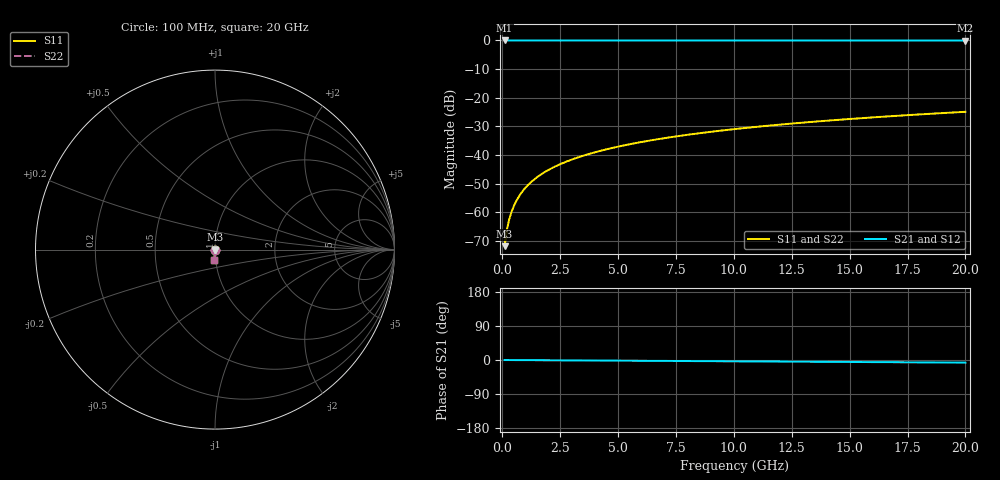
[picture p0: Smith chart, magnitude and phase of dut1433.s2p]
! Touchstone file exported from HFSS 2026.1.0
!  File:  C:/ffzhzh/LocalFiles/Ansys_Project_Files/temp_train_TSV_1433_1783197537_18472.aedt
!  Generated:  04:40:28 AM Jul  5, 2026
!  Design:  TSV
!  Project:  temp_train_TSV_1433_1783197537_18472
! Variables:
!  h_bsmrdl = 2um
!  h_ox = 20um
!  h_rdl = 5um
!  h_sub = 62.52um
!  h_tmrdl = 5um
!  h_tsv = 62.52um
!  h_via = 3um
!  l_bsmrdl = 300um
!  l_sub = 427.52um
!  l_tmrdl = 200um
!  m_sub = 200um
!  pitch = 36.91um
!  r_tsv = 13.76um
!  s_tmrdl = 10um
!  w_bsmrdl = 18um
!  w_sub = 500um
!  w_tmrdl = 12um
!  x_tsv_center1 = 206um
!  x_tsv_center2 = 524um
!  x_tsv_center3 = 736um
!  x_tsv_center4 = 1054um
!  x_tsv_center5 = 1266um
!  x_tsv_center6 = 1584um
# GHz S MA R 50.000000
! Terminal data exported
! Port[1] = TSV1_1_T1
! Port[2] = TSV1_1_T2
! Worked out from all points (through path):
!   200 points, 100 MHz to 20 GHz, reference 50 ohm
!   highest |S21| = 0.00 dB at 100 MHz (marker M1); lowest = 0.0 dB at 20 GHz (marker M2)
!   lowest |S11| = -71.8 dB at 100 MHz (marker M3), VSWR 1.00, Z = 50 - j0.0245 ohm
!   |S11| at or under -10 dB: start of sweep to end of sweep
!   |S22| runs from -71.8 to -24.9 dB; largest |S21 - S12| = 1.6e-14
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0.1  0.000256 -73.1  0.9999 -0.0  0.9999 -0.0  0.000256 -73.1
! Gamma 0 0 0 0
! Port Impedance 50 0 50 0
0.2  0.0005013 -79.9  0.9999 -0.1  0.9999 -0.1  0.0005013 -79.9
0.3  0.0007561 -81.9  0.9999 -0.1  0.9999 -0.1  0.0007561 -81.9
0.4  0.001019 -82.8  0.9999 -0.1  0.9999 -0.1  0.001019 -82.8
0.5  0.001287 -83.4  0.9998 -0.2  0.9998 -0.2  0.001287 -83.4
0.7  0.001838 -84.2  0.9998 -0.3  0.9998 -0.3  0.001838 -84.2
0.8  0.002118 -84.6  0.9998 -0.3  0.9998 -0.3  0.002118 -84.6
1  0.00268 -85.2  0.9998 -0.4  0.9998 -0.4  0.00268 -85.2
1.2  0.003245 -85.8  0.9997 -0.4  0.9997 -0.4  0.003245 -85.8
1.4  0.00381 -86.3  0.9997 -0.5  0.9997 -0.5  0.00381 -86.3
1.7  0.004657 -86.9  0.9997 -0.6  0.9997 -0.6  0.004657 -86.9
2  0.005504 -87.4  0.9997 -0.7  0.9997 -0.7  0.005504 -87.4
2.7  0.007479 -88.2  0.9996 -0.9  0.9996 -0.9  0.007479 -88.2
3.5  0.00974 -88.8  0.9995 -1.2  0.9995 -1.2  0.00974 -88.8
4.2  0.01172 -89.3  0.9995 -1.5  0.9995 -1.5  0.01172 -89.3
5  0.01399 -89.7  0.9994 -1.7  0.9994 -1.7  0.01399 -89.7
6.8  0.01912 -90.6  0.9992 -2.4  0.9992 -2.4  0.01912 -90.6
8.3  0.0234 -91.3  0.9991 -2.9  0.9991 -2.9  0.0234 -91.3
10.1  0.02854 -92.1  0.9989 -3.5  0.9989 -3.5  0.02854 -92.1
13.4  0.03797 -93.4  0.9985 -4.6  0.9985 -4.6  0.03797 -93.4
16.7  0.04738 -94.7  0.998 -5.8  0.998 -5.8  0.04738 -94.7
20  0.05679 -95.9  0.9974 -6.9  0.9974 -6.9  0.05679 -95.9
